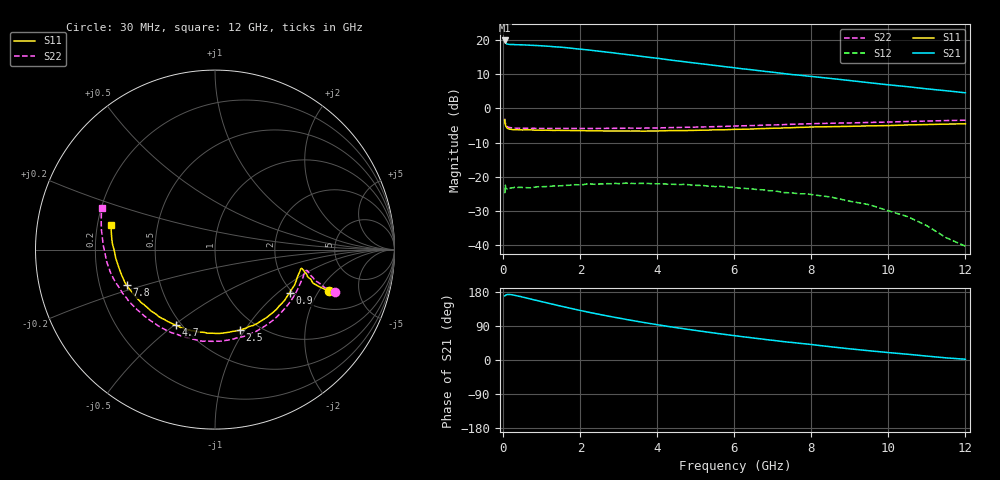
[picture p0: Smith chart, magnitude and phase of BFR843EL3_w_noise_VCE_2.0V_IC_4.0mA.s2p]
! Infineon Technologies  Discrete & RF Semiconductors
! BFR843EL3
! VCE =  2.0 V,  IC =  4.0 mA
! Common Emitter S-Parameters:  Aug 2013
# GHz  S  MA  R  50
!  f  S11  S21  S12  S22
! GHz  MAG  ANG  MAG  ANG  MAG  ANG  MAG  ANG
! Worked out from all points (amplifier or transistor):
!   103 points, 30 MHz to 12 GHz, reference 50 ohm
!   highest |S21| = 19.8 dB at 30 MHz (marker M1)
!   |S21| within 3 dB of that: start of sweep to 2.376 GHz
!   unconditionally stable (mu >= 1): 246 MHz to 253.2 MHz; 6.788 GHz to end of sweep
!   at 400 MHz: K = 1.00, MSG = 20.8 dB, |S12| = -23.1 dB
!   at 3.7 GHz: K = 0.76, MSG = 18.5 dB, |S12| = -21.9 dB
!   at 12 GHz: K = 10.54, MAG = 9.2 dB, |S12| = -40.3 dB
!   lowest NFmin = 0.92 dB at 900 MHz
!   S11 on the Smith chart (normalised r, x): 30 MHz: 2.91, -2.51; 900 MHz: 1.93, -1.20; 2.5 GHz: 0.82, -0.95; 4.7 GHz: 0.47, -0.51; 7.8 GHz: 0.32, -0.18; 12 GHz: 0.26, +0.11
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0.03  0.6785 -20.0  9.826 169.2  0.0574 34.7  0.7076 -19.5
0.04  0.6165 -19.6  9.428 169.8  0.0601 26.4  0.647 -19.1
0.05  0.5764 -18.9  9.235 170.9  0.0754 25.9  0.6136 -17.9
0.07  0.5383 -16.4  8.878 171.8  0.0672 17.3  0.5673 -15.9
0.1  0.5134 -14.0  8.708 172.8  0.0668 11.2  0.5434 -14.2
0.15  0.4987 -12.5  8.599 173.1  0.0674 7.8  0.5254 -12.9
0.5  0.484 -18.2  8.471 165.9  0.0698 4.1  0.5117 -20.5
0.9  0.4804 -30.0  8.267 156.3  0.0717 2.5  0.5101 -33.4
1.5  0.4764 -47.5  7.83 141.9  0.074 1.1  0.5089 -52.7
2.1  0.4733 -63.3  7.234 128.5  0.0773 -0.9  0.5099 -70.6
2.5  0.4694 -73.0  6.815 120.3  0.0786 -3.7  0.5092 -81.1
2.8  0.4669 -80.2  6.536 114.3  0.0793 -5.0  0.5103 -88.5
3.2  0.4673 -89.0  6.126 106.8  0.0811 -7.6  0.5155 -97.7
4.1  0.47 -106.4  5.301 91.5  0.0792 -13.8  0.5191 -115.5
4.7  0.4732 -117.0  4.801 82.2  0.0775 -17.9  0.5294 -126.1
5.3  0.4807 -126.1  4.377 73.6  0.0731 -21.6  0.5372 -135.1
6.1  0.4946 -137.0  3.855 63.0  0.0684 -26.7  0.554 -146.2
6.9  0.5105 -147.4  3.423 53.0  0.0627 -31.2  0.5706 -155.9
7.8  0.5286 -157.9  3.009 43.0  0.0565 -35.3  0.5916 -165.9
8.5  0.5403 -165.7  2.737 34.9  0.0507 -40.8  0.6069 -173.4
10.5  0.5726 176.7  2.075 15.2  0.0262 -46.5  0.6433 169.8
12  0.5955 166.5  1.69 2.0  0.0097 12.8  0.672 159.8
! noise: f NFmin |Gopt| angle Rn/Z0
0.45  0.93  0.24  7  0.2
0.9  0.92  0.24  22  0.19
1.5  0.96  0.25  37  0.17
1.9  0.98  0.25  41  0.17
2.4  1.01  0.26  53  0.16
3.5  1.07  0.26  74  0.15
5.5  1.16  0.29  111  0.12
8  1.28  0.36  152  0.08
10  1.37  0.43  202  0.05
